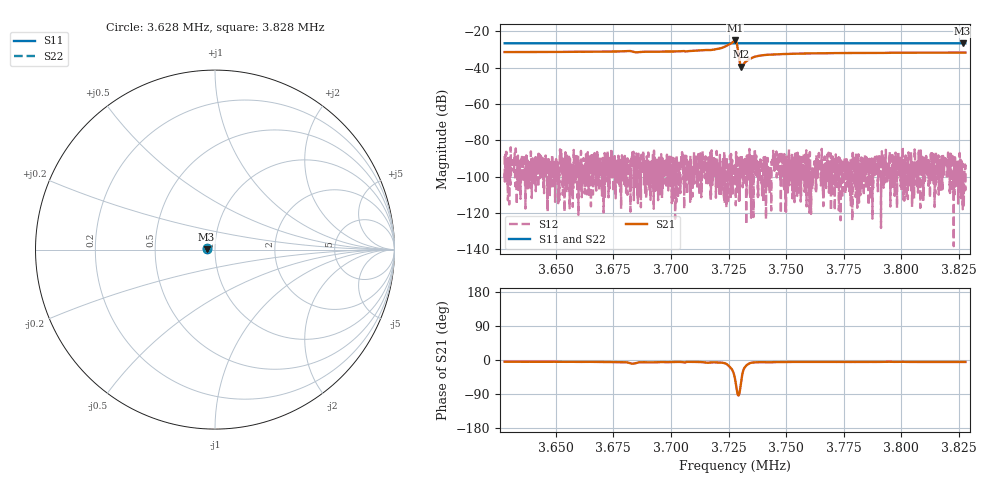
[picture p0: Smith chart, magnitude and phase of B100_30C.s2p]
# Hz S dB R 50.000
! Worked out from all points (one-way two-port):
!   6401 points, 3.628 MHz to 3.828 MHz, reference 50 ohm
!   highest |S21| = -24.94 dB at 3.728 MHz (marker M1); lowest = -39.3 dB at 3.731 MHz (marker M2)
!   lowest |S11| = -26.5 dB at 3.827 MHz (marker M3), VSWR 1.10, Z = 45.5 + j0.205 ohm
!   |S11| at or under -10 dB: start of sweep to end of sweep
!   |S22| runs from -26.7 to -26.6 dB; largest |S21 - S12| = 0.057
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3627813  -26.48 175.6  -31.35 -4.7  -88.70 -24.7  -26.57 170.1
3661157  -26.49 175.9  -31.19 -5.0  -91.42 45.6  -26.59 170.4
3681469  -26.49 176.0  -30.70 -7.0  -97.54 51.6  -26.60 170.6
3685094  -26.50 176.1  -31.48 -7.5  -92.93 -2.7  -26.60 170.6
3694500  -26.50 176.2  -31.17 -5.7  -98.41 117.5  -26.60 170.7
3718063  -26.50 176.4  -30.10 -6.3  -104.60 109.1  -26.61 170.9
3722282  -26.50 176.4  -28.97 -7.2  -99.24 -36.5  -26.61 171.0
3727188  -26.50 176.4  -25.48 -34.1  -101.88 26.1  -26.62 171.0
3727813  -26.50 176.4  -24.94 -49.3  -96.76 -4.6  -26.62 171.0
3728157  -26.51 176.4  -25.20 -61.5  -115.85 -119.8  -26.62 171.0
3728532  -26.51 176.4  -26.38 -76.6  -93.88 35.7  -26.62 171.0
3729938  -26.50 176.4  -37.21 -80.8  -95.58 19.5  -26.62 171.0
3730626  -26.51 176.5  -39.34 -49.6  -92.75 92.7  -26.62 171.0
3731219  -26.51 176.5  -38.53 -31.0  -95.43 46.4  -26.62 171.0
3733000  -26.50 176.5  -36.11 -13.1  -90.30 -75.1  -26.62 171.0
3734938  -26.50 176.5  -34.62 -7.3  -97.88 82.8  -26.62 171.0
3738750  -26.51 176.5  -33.28 -5.8  -90.60 36.3  -26.62 171.1
3748157  -26.51 176.6  -32.47 -5.3  -91.47 4.0  -26.63 171.2
3761157  -26.51 176.7  -32.06 -5.0  -103.14 -6.2  -26.63 171.3
3794500  -26.52 177.0  -31.76 -4.6  -98.13 77.8  -26.65 171.6
3826563  -26.53 177.3  -31.64 -5.2  -92.75 173.4  -26.67 171.9
3827813  -26.53 177.3  -31.62 -5.2  -93.60 -128.4  -26.66 171.9
